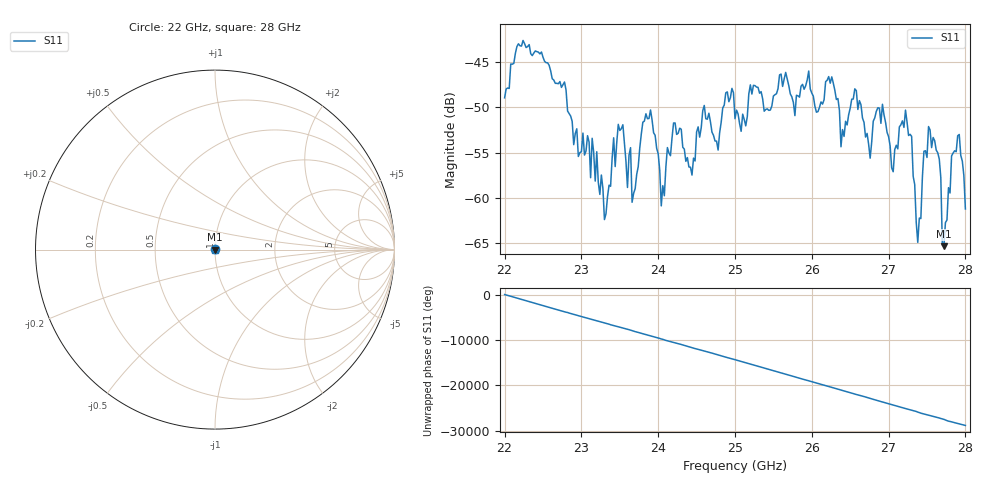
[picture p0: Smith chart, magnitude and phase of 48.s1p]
#  HZ  S  RI  R  50.00
! Rohde & Schwarz ZVA40 4Ports - Version 3.90 - 1145.1110k42 SN: 100403
! Date: 2023-10-04 10:42:24
! Measurement: S12
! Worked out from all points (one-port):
!   301 points, 22 GHz to 28 GHz, reference 50 ohm
!   lowest |S11| = -65.3 dB at 27.72 GHz (marker M1), VSWR 1.00, Z = 49.9 - j0.016 ohm
!   |S11| at or under -10 dB: start of sweep to end of sweep
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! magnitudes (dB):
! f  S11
! 22 GHz  -48.9
! 22.24 GHz  -42.6
! 22.76 GHz  -47.5
! 22.96 GHz  -55.4
! 23.2 GHz  -54.9
! 23.3 GHz  -62.4
! 23.5 GHz  -52.5
! 23.6 GHz  -58.8
! 23.64 GHz  -54.4
! 23.66 GHz  -60.5
! 23.9 GHz  -50.3
! 24.04 GHz  -60.9
! 24.26 GHz  -52.8
! 24.44 GHz  -57.5
! 24.6 GHz  -49.8
! 25 GHz  -51.2
! 25.76 GHz  -49.5
! 26.5 GHz  -50.1
! 26.76 GHz  -55.6
! 26.92 GHz  -49.7
! 27.06 GHz  -57.1
! 27.26 GHz  -53.1
! 27.38 GHz  -64.9
! 27.52 GHz  -52.1
! 27.66 GHz  -55.7
! 27.72 GHz  -65.3
! 27.9 GHz  -53.1
! 28 GHz  -61.2
